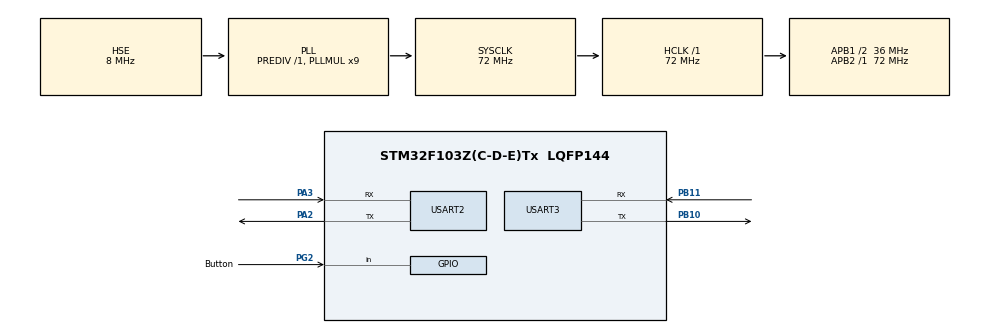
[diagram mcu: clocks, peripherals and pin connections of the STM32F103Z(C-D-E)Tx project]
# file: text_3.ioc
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Mcu.Family=STM32F1
Mcu.Name=STM32F103Z(C-D-E)Tx
Mcu.Package=LQFP144
NVIC.PriorityGroup=NVIC_PRIORITYGROUP_4
NVIC.TIM1_UP_IRQn=true\:0\:0\:false\:false\:true\:true\:true\:true
NVIC.USART2_IRQn=true\:0\:0\:false\:false\:true\:true\:true\:true
NVIC.USART3_IRQn=true\:0\:0\:false\:false\:true\:true\:true\:true
OSC_IN.Mode=HSE-External-Oscillator
OSC_IN.Signal=RCC_OSC_IN
OSC_OUT.Mode=HSE-External-Oscillator
OSC_OUT.Signal=RCC_OSC_OUT
PA13.Mode=Serial_Wire
PA13.Signal=SYS_JTMS-SWDIO
PA14.Mode=Serial_Wire
PA14.Signal=SYS_JTCK-SWCLK
PA2.Mode=Asynchronous
PA2.Signal=USART2_TX
PA3.Mode=Asynchronous
PA3.Signal=USART2_RX
PB10.Mode=Asynchronous
PB10.Signal=USART3_TX
PB11.Mode=Asynchronous
PB11.Signal=USART3_RX
PG2.GPIO_Label=Button
PG2.GPIO_PuPd=GPIO_PULLUP
PG2.Signal=GPIO_Input
ProjectManager.HeapSize=0x200
ProjectManager.StackSize=0x400
ProjectManager.TargetToolchain=MDK-ARM V5.32
RCC.AHBFreq_Value=72000000
RCC.APB1CLKDivider=RCC_HCLK_DIV2
RCC.APB1Freq_Value=36000000
RCC.APB1TimFreq_Value=72000000
RCC.APB2Freq_Value=72000000
RCC.APB2TimFreq_Value=72000000
RCC.HCLKFreq_Value=72000000
RCC.PLLMUL=RCC_PLL_MUL9
RCC.PLLSourceVirtual=RCC_PLLSOURCE_HSE
RCC.SYSCLKFreq_VALUE=72000000
RCC.SYSCLKSource=RCC_SYSCLKSOURCE_PLLCLK
RCC.USBFreq_Value=72000000
TIM1.AutoReloadPreload=TIM_AUTORELOAD_PRELOAD_ENABLE
TIM1.Period=99
TIM1.Prescaler=7199
USART2.VirtualMode=VM_ASYNC
USART3.VirtualMode=VM_ASYNC
VP_TIM1_VS_ClockSourceINT.Mode=Internal
board=custom

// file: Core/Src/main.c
/* USER CODE BEGIN Header */
/**
  ******************************************************************************
  * @file           : main.c
  * @brief          : Main program body
  ******************************************************************************
  * @attention
  *
  * Copyright (c) 2025 STMicroelectronics.
  * All rights reserved.
  *
  * This software is licensed under terms that can be found in the LICENSE file
  * in the root directory of this software component.
  * If no LICENSE file comes with this software, it is provided AS-IS.
  *
  ******************************************************************************
  */
/* USER CODE END Header */
#include "main.h"
#include "tim.h"
#include "usart.h"
#include "gpio.h"

/* USER CODE BEGIN Includes */
#include "Emm_V5.h"
#include "string.h"
#include "math.h"
#include "pid.h"
#include "stm32f1xx_hal_tim.h"
/* USER CODE END Includes */

/* USER CODE BEGIN PD */

//һ����������
#define key_state HAL_GPIO_ReadPin(Button_GPIO_Port, Button_Pin)//定义开关状态

/* USER CODE END PD */

/* USER CODE BEGIN PV */
uint16_t dir[4]={0};//定义电机正反转数组
float speed[4]={0};//定义速度数组

/* USER CODE END PV */

void SystemClock_Config(void);
/* USER CODE BEGIN PFP */
//驱动电机函数
void Car_Move(uint16_t dir[],float speed[]){
	for(int i=0;i<4;i++){
		Emm_V5_Vel_Control(i+1,dir[i],speed[i],0,1);
		Emm_V5_Synchronous_motion(0);
	}
}
//前进
void MoveForward_speed(uint16_t dir[],float speed[]){
	for(int i=0;i<4;i++){
		dir[i]=1;
	}
	Car_Move(dir,speed);
}
//后退
void MoveBackward_speed(uint16_t dir[],float speed[]){
	for(int i=0;i<4;i++){
		dir[i]=0;
	}
	Car_Move(dir,speed);
}
//左移
void MoveLeft_speed(uint16_t dir[],float speed[]){
	dir[0]=0;
	dir[1]=1;
	dir[2]=1;
	dir[3]=0;
	Car_Move(dir,speed);
}
//右移
void MoveRight_speed(uint16_t dir[],float speed[]){
	dir[0]=1;
	dir[1]=0;
	dir[2]=0;
	dir[3]=1;
	Car_Move(dir,speed);
}
//˳顺时针旋转
void RotateRight_speed(uint16_t dir[],float speed[]){
	dir[0]=1;
	dir[1]=0;
	dir[2]=1;
	dir[3]=0;
	Car_Move(dir,speed);
}
//逆时针旋转
void RotateLeft_speed(uint16_t dir[],float speed[]){
	dir[0]=0;
	dir[1]=1;
	dir[2]=0;
	dir[3]=1;
	Car_Move(dir,speed);
}
//电机停转，小车停止
void wheel_Stop(){
	for(int i=0;i<4;i++){
		Emm_V5_Stop_Now(i,1);

	}
	Emm_V5_Synchronous_motion(0);
}

/* USER CODE END PFP */

int main(void)
{

  /* MCU Configuration--------------------------------------------------------*/

  /* Reset of all peripherals, Initializes the Flash interface and the Systick. */
  HAL_Init();

  /* Configure the system clock */
  SystemClock_Config();

  /* Initialize all configured peripherals */
  MX_GPIO_Init();
  MX_TIM1_Init();
  MX_USART2_UART_Init();
  MX_USART3_UART_Init();
  /* USER CODE BEGIN 2 */
if(key_state==0){

}
  /* USER CODE END 2 */

  /* Infinite loop */
  while (1)
  {

  }
}

void SystemClock_Config(void)
{
  RCC_OscInitTypeDef RCC_OscInitStruct = {0};
  RCC_ClkInitTypeDef RCC_ClkInitStruct = {0};

  /** Initializes the RCC Oscillators according to the specified parameters
  * in the RCC_OscInitTypeDef structure.
  */
  RCC_OscInitStruct.OscillatorType = RCC_OSCILLATORTYPE_HSE;
  RCC_OscInitStruct.HSEState = RCC_HSE_ON;
  RCC_OscInitStruct.HSEPredivValue = RCC_HSE_PREDIV_DIV1;
  RCC_OscInitStruct.HSIState = RCC_HSI_ON;
  RCC_OscInitStruct.PLL.PLLState = RCC_PLL_ON;
  RCC_OscInitStruct.PLL.PLLSource = RCC_PLLSOURCE_HSE;
  RCC_OscInitStruct.PLL.PLLMUL = RCC_PLL_MUL9;
  if (HAL_RCC_OscConfig(&RCC_OscInitStruct) != HAL_OK)
  {
    Error_Handler();
  }

  /** Initializes the CPU, AHB and APB buses clocks
  */
  RCC_ClkInitStruct.ClockType = RCC_CLOCKTYPE_HCLK|RCC_CLOCKTYPE_SYSCLK
                              |RCC_CLOCKTYPE_PCLK1|RCC_CLOCKTYPE_PCLK2;
  RCC_ClkInitStruct.SYSCLKSource = RCC_SYSCLKSOURCE_PLLCLK;
  RCC_ClkInitStruct.AHBCLKDivider = RCC_SYSCLK_DIV1;
  RCC_ClkInitStruct.APB1CLKDivider = RCC_HCLK_DIV2;
  RCC_ClkInitStruct.APB2CLKDivider = RCC_HCLK_DIV1;

  if (HAL_RCC_ClockConfig(&RCC_ClkInitStruct, FLASH_LATENCY_2) != HAL_OK)
  {
    Error_Handler();
  }
}

void Error_Handler(void)
{
  __disable_irq();
  while (1)
  {
  }
}
